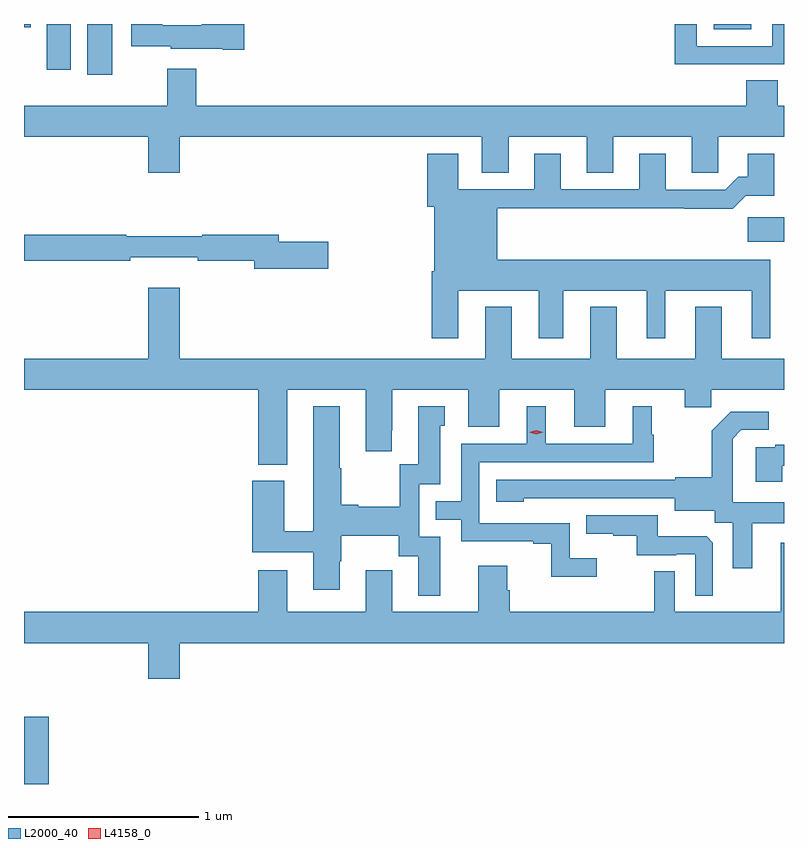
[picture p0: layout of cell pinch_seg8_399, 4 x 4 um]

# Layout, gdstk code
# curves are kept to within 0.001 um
import gdstk
lib = gdstk.Library(unit=1e-6, precision=1e-09)
def R(c, l, rs):  # rectangles x0, y0, x1, y1
    for r in rs: c.add(gdstk.rectangle(r[:2], r[2:], *l))
def P(c, l, *ps):  # polygons
    for p in ps: c.add(gdstk.Polygon(p, *l))
L2000_40 = (2000, 40)
L4158_0 = (4158, 0)

pinch_seg8_399 = lib.new_cell('pinch_seg8_399')
R(pinch_seg8_399, L2000_40, [(500.017,1119.754,500.147,1120.107), (503.826,1122.608,504.017,1122.737), (500.351,1123.488,500.482,1123.754), (500.138,1123.512,500.263,1123.754), (503.648,1123.727,503.845,1123.754), (500.017,1123.736,500.053,1123.754)])
P(pinch_seg8_399, L2000_40, [(503.735,1123.542),(504.017,1123.542),(504.017,1123.754),(503.955,1123.754),(503.955,1123.638),(503.559,1123.638),(503.559,1123.754),(503.443,1123.754),(503.443,1123.541),(503.735,1123.541)],
  [(501.175,1123.754),(500.952,1123.754),(500.952,1123.747),(500.744,1123.747),(500.744,1123.754),(500.582,1123.754),(500.582,1123.637),(500.79,1123.637),(500.79,1123.625),(501.062,1123.625),(501.062,1123.618),(501.175,1123.618)],
  [(502.567,1123.16),(502.979,1123.16),(502.979,1122.97),(503.119,1122.97),(503.119,1123.16),(503.531,1123.16),(503.531,1122.97),(503.67,1122.97),(503.67,1123.16),(504.017,1123.16),(504.017,1123.324),(503.984,1123.324),(503.984,1123.457),(503.819,1123.457),(503.819,1123.324),(500.924,1123.324),(500.924,1123.519),(500.771,1123.519),(500.771,1123.324),(500.017,1123.324),(500.017,1123.16),(500.672,1123.16),(500.672,1122.972),(500.836,1122.972),(500.836,1123.16),(502.427,1123.16),(502.427,1122.97),(502.567,1122.97)],
  [(502.303,1122.35),(502.727,1122.35),(502.727,1122.099),(502.855,1122.099),(502.855,1122.35),(503.294,1122.35),(503.294,1122.099),(503.392,1122.099),(503.392,1122.35),(503.846,1122.35),(503.846,1122.099),(503.944,1122.099),(503.944,1122.514),(502.507,1122.514),(502.507,1122.784),(503.491,1122.784),(503.491,1122.782),(503.747,1122.782),(503.816,1122.851),(503.965,1122.851),(503.965,1123.072),(503.825,1123.072),(503.825,1122.949),(503.776,1122.949),(503.709,1122.882),(503.395,1122.882),(503.395,1123.072),(503.255,1123.072),(503.255,1122.885),(502.843,1122.885),(502.843,1123.072),(502.703,1123.072),(502.703,1122.885),(502.303,1122.885),(502.303,1123.072),(502.139,1123.072),(502.139,1122.792),(502.175,1122.792),(502.175,1122.454),(502.163,1122.454),(502.163,1122.099),(502.303,1122.099)],
  [(501.619,1122.608),(501.358,1122.608),(501.358,1122.644),(500.954,1122.644),(500.954,1122.637),(500.554,1122.637),(500.554,1122.644),(500.017,1122.644),(500.017,1122.508),(500.576,1122.508),(500.576,1122.527),(500.932,1122.527),(500.932,1122.508),(501.23,1122.508),(501.23,1122.466),(501.619,1122.466)],
  [(501.403,1121.828),(501.815,1121.828),(501.815,1121.505),(501.952,1121.505),(501.952,1121.617),(501.955,1121.617),(501.955,1121.828),(502.355,1121.828),(502.355,1121.634),(502.519,1121.634),(502.519,1121.828),(502.913,1121.828),(502.913,1121.634),(503.077,1121.634),(503.077,1121.828),(503.495,1121.828),(503.495,1121.738),(503.633,1121.738),(503.633,1121.828),(504.017,1121.828),(504.017,1121.992),(503.689,1121.992),(503.689,1122.265),(503.549,1122.265),(503.549,1121.992),(503.137,1121.992),(503.137,1122.265),(502.997,1122.265),(502.997,1121.992),(502.585,1121.992),(502.585,1122.265),(502.445,1122.265),(502.445,1121.992),(500.836,1121.992),(500.836,1122.367),(500.672,1122.367),(500.672,1121.992),(500.017,1121.992),(500.017,1121.828),(501.251,1121.828),(501.251,1121.434),(501.403,1121.434)],
  [(503.032,1120.942),(502.89,1120.942),(502.89,1121.127),(502.413,1121.127),(502.413,1121.448),(503.332,1121.448),(503.332,1121.592),(503.32,1121.592),(503.32,1121.743),(503.222,1121.743),(503.222,1121.544),(502.762,1121.544),(502.762,1121.743),(502.664,1121.743),(502.664,1121.544),(502.317,1121.544),(502.317,1121.241),(502.183,1121.241),(502.183,1121.145),(502.317,1121.145),(502.317,1121.031),(502.697,1121.031),(502.697,1121.019),(502.792,1121.019),(502.792,1120.844),(503.032,1120.844)],
  [(502.207,1121.055),(502.098,1121.055),(502.098,1121.331),(502.207,1121.331),(502.207,1121.64),(502.231,1121.64),(502.231,1121.743),(502.091,1121.743),(502.091,1121.436),(501.995,1121.436),(501.995,1121.212),(501.775,1121.212),(501.775,1121.225),(501.687,1121.225),(501.687,1121.417),(501.679,1121.417),(501.679,1121.743),(501.539,1121.743),(501.539,1121.083),(501.388,1121.083),(501.388,1121.349),(501.218,1121.349),(501.218,1120.974),(501.539,1120.974),(501.539,1120.776),(501.679,1120.776),(501.679,1120.926),(501.687,1120.926),(501.687,1121.06),(501.99,1121.06),(501.99,1120.954),(502.091,1120.954),(502.091,1120.746),(502.207,1120.746)],
  [(503.851,1121.126),(504.017,1121.126),(504.017,1121.236),(503.748,1121.236),(503.748,1121.477),(503.746,1121.477),(503.746,1121.572),(503.793,1121.619),(503.938,1121.619),(503.938,1121.713),(503.737,1121.713),(503.637,1121.613),(503.637,1121.368),(503.445,1121.368),(503.445,1121.355),(502.503,1121.355),(502.503,1121.24),(502.647,1121.24),(502.647,1121.258),(503.441,1121.259),(503.441,1121.192),(503.652,1121.192),(503.652,1121.128),(503.747,1121.128),(503.747,1120.89),(503.851,1120.89)],
  [(504.007,1121.43),(504.017,1121.43),(504.017,1121.539),(503.971,1121.539),(503.971,1121.526),(503.867,1121.526),(503.867,1121.346),(504.007,1121.346)],
  [(503.643,1121.025),(503.611,1121.057),(503.353,1121.057),(503.353,1121.169),(502.975,1121.169),(502.975,1121.072),(503.119,1121.072),(503.119,1121.061),(503.243,1121.061),(503.243,1120.959),(503.45,1120.959),(503.45,1120.962),(503.55,1120.962),(503.55,1120.745),(503.643,1120.745)],
  [(500.836,1120.496),(504.017,1120.496),(504.017,1121.023),(503.999,1121.023),(503.999,1120.66),(503.442,1120.66),(503.442,1120.874),(503.334,1120.874),(503.334,1120.66),(502.574,1120.66),(502.574,1120.773),(502.561,1120.773),(502.561,1120.903),(502.409,1120.903),(502.409,1120.66),(501.955,1120.66),(501.955,1120.879),(501.815,1120.879),(501.815,1120.66),(501.403,1120.66),(501.403,1120.879),(501.251,1120.879),(501.251,1120.66),(500.017,1120.66),(500.017,1120.496),(500.672,1120.496),(500.672,1120.308),(500.836,1120.308)])
P(pinch_seg8_399, L4158_0, [(502.713,1121.596),(502.677,1121.605),(502.677,1121.606),(502.677,1121.606),(502.713,1121.616),(502.749,1121.606),(502.749,1121.606),(502.749,1121.605)])

lib.write_gds('pinch_seg8_399.gds')
